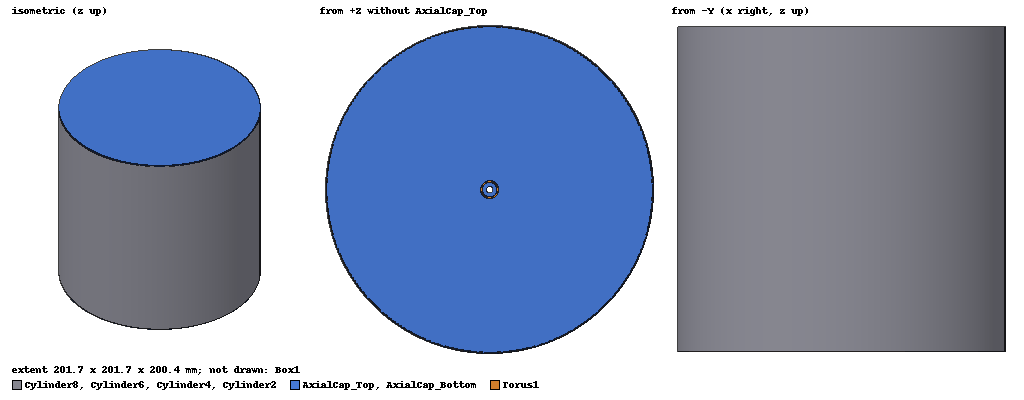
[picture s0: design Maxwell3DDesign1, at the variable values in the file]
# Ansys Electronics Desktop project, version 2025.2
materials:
  vacuum: permittivity=1
  ferrite: permittivity=12 permeability=1000 conductivity=0.01
  copper: permeability=0.999991 conductivity=58000000

design Maxwell3DDesign1 (Maxwell 3D, Magnetostatic, model units mm)
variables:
  Rin = 100mm
  H = 200mm
  Iexc = 1mA
  a = 0.15mm
  g = 0.08mm
  T = 0.84mm
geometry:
  Cylinder1 = cylinder(axis=Z, base_centre=(0mm, 0mm, -H/2), radius=Rin, height=H)
  Cylinder2 [ferrite] = cylinder(axis=Z, base_centre=(0mm, 0mm, -H/2), radius=Rin+a, height=H)
  Cylinder2.subtract(Cylinder1)
  Cylinder3 = cylinder(axis=Z, base_centre=(0mm, 0mm, -H/2), radius=Rin+a+g, height=H)
  Cylinder4 [ferrite] = cylinder(axis=Z, base_centre=(0mm, 0mm, -H/2), radius=Rin+2*a+g, height=H)
  Cylinder4.subtract(Cylinder3)
  Torus1 [copper] = torus(axis=Z, centre=(0mm, 0mm, 0mm), major_radius=5mm, minor_radius=0.5mm)
  Torus1_Section1 [copper] = Torus1.section(plane=YZ)
  Torus1_Section1.separate_bodies()
  Box1 [vacuum] = box(corner=(-400mm, -400mm, -400mm), size=(800mm, 800mm, 800mm))
  Cylinder5 = cylinder(axis=Z, base_centre=(0mm, 0mm, -H/2), radius=Rin+2*a+2*g, height=H)
  Cylinder6 [ferrite] = cylinder(axis=Z, base_centre=(0mm, 0mm, -H/2), radius=Rin+3*a+2*g, height=H)
  Cylinder6.subtract(Cylinder5)
  Cylinder7 = cylinder(axis=Z, base_centre=(0mm, 0mm, -H/2), radius=Rin+3*a+3*g, height=H)
  Cylinder8 [ferrite] = cylinder(axis=Z, base_centre=(0mm, 0mm, -H/2), radius=Rin+4*a+3*g, height=H)
  Cylinder8.subtract(Cylinder7)
  point BcenterPoint_0_0_0 = (0, 0, 0)
  point BcenterPoint_0_0_0_1 = (0, 0, 0)
  point BcenterPoint_0_0_0_2 = (0, 0, 0)
  point BcenterPoint_0_0_0_3 = (0, 0, 0)
  AxialCap_Top [ferrite] = cylinder(axis=Z, base_centre=(0mm, 0mm, 100.03mm), radius=100.84mm, height=0.15mm)
  AxialCap_Bottom [ferrite] = cylinder(axis=Z, base_centre=(0mm, 0mm, -100.18mm), radius=100.84mm, height=0.15mm)
  AxialCap_Bottom_hole_tool = cylinder(axis=Z, base_centre=(0mm, 0mm, -100.68mm), radius=2mm, height=1.15mm)
  AxialCap_Bottom.subtract(AxialCap_Bottom_hole_tool)
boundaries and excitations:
  B0z_TH_102: Tangential H Field Faces=Box1.face(-x) ComponentXReal=1 ComponentYReal=0 CoordSysVector{(-400, 0, 0) -> (-400mm, 0mm, 10mm)}
  B0z_TH_104: Tangential H Field Faces=Box1.face(+x) ComponentXReal=1 ComponentYReal=0 CoordSysVector{(400, 0, 0) -> (400mm, 0mm, 10mm)}
  B0z_TH_101: Tangential H Field Faces=Box1.face(-y) ComponentXReal=1 ComponentYReal=0 CoordSysVector{(0, -400, 0) -> (0mm, -400mm, 10mm)}
  B0z_TH_103: Tangential H Field Faces=Box1.face(+y) ComponentXReal=1 ComponentYReal=0 CoordSysVector{(0, 400, 0) -> (0mm, 400mm, 10mm)}
  B0z_open_flux_faces: Zero Tangential H Field Faces=Box1.face(+z, -z)
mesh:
  Length1: LengthBased Objects=[Cylinder8, Cylinder6, Cylinder2, Cylinder4] NumMaxElem=2000 MaxLength=50mm
  Length2: LengthBased RefineInside Objects=[Cylinder8, Cylinder6, Cylinder4, Cylinder2] NumMaxElem=2000 MaxLength=50mm
  Length_surf_Cylinder2: LengthBased Objects=Cylinder2 NumMaxElem=2000 MaxLength=0.05mm
  Length_vol_Cylinder2: LengthBased RefineInside Objects=Cylinder2 NumMaxElem=2000 MaxLength=0.05mm
  Length_surf_Cylinder4: LengthBased Objects=Cylinder4 NumMaxElem=2000 MaxLength=0.05mm
  Length_vol_Cylinder4: LengthBased RefineInside Objects=Cylinder4 NumMaxElem=2000 MaxLength=0.05mm
  Length_surf_Cylinder6: LengthBased Objects=Cylinder6 NumMaxElem=2000 MaxLength=0.05mm
  Length_vol_Cylinder6: LengthBased RefineInside Objects=Cylinder6 NumMaxElem=2000 MaxLength=0.05mm
  Length_surf_Cylinder8: LengthBased Objects=Cylinder8 NumMaxElem=2000 MaxLength=0.05mm
  Length_vol_Cylinder8: LengthBased RefineInside Objects=Cylinder8 NumMaxElem=2000 MaxLength=0.05mm
  Length_surf_z_Cylinder2: LengthBased Objects=Cylinder2 NumMaxElem=2000 MaxLength=0.05mm
  Length_vol_z_Cylinder2: LengthBased RefineInside Objects=Cylinder2 NumMaxElem=2000 MaxLength=0.05mm
  Length_surf_z_Cylinder4: LengthBased Objects=Cylinder4 NumMaxElem=2000 MaxLength=0.05mm
  Length_vol_z_Cylinder4: LengthBased RefineInside Objects=Cylinder4 NumMaxElem=2000 MaxLength=0.05mm
  Length_surf_z_Cylinder6: LengthBased Objects=Cylinder6 NumMaxElem=2000 MaxLength=0.05mm
  Length_vol_z_Cylinder6: LengthBased RefineInside Objects=Cylinder6 NumMaxElem=2000 MaxLength=0.05mm
  Length_surf_z_Cylinder8: LengthBased Objects=Cylinder8 NumMaxElem=2000 MaxLength=0.05mm
  Length_vol_z_Cylinder8: LengthBased RefineInside Objects=Cylinder8 NumMaxElem=2000 MaxLength=0.05mm
  initial mesh: GlobalCurvilinear{Apply}
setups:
  Setup1: Magnetostatic MaximumPasses=10 MinimumPasses=2 MinimumConvergedPasses=1 PercentRefinement=30 PercentError=1 NonLinearResidual=0.001
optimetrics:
  P_asweep1: Parametric Sim._Setups=[Setup1]
    sweep a: 0.5mm
    table edits: add(0.8mm) add(1.0mm) add(1.2mm) add(1.5mm) add(2.0mm)
    calculate IntH2_total on Setup1 : LastAdaptive
    calculate IntH2_s1 on Setup1 : LastAdaptive
    calculate IntH2_s2 on Setup1 : LastAdaptive
    calculate IntH2_s3 on Setup1 : LastAdaptive
    calculate InH2_s4 on Setup1 : LastAdaptive
  P_Tcompare1: Parametric Sim._Setups=[Setup1]
    sweep T: 5mm
    table edits: add(8mm) add(10mm)
    calculate IntH2_total on Setup1 : LastAdaptive
    calculate IntH2_s1 on Setup1 : LastAdaptive
    calculate IntH2_s2 on Setup1 : LastAdaptive
    calculate IntH2_s3 on Setup1 : LastAdaptive
    calculate InH2_s4 on Setup1 : LastAdaptive
  P_agmatrix_4ceng_T1: Parametric Sim._Setups=[Setup1]
    sweep a: 0.5mm
    sweep g: 0.2mm
    sweep T: 2.60mm
    table edits: add(0.5mm, 0.5mm, 3.50mm) add(0.5mm, 1.0mm, 5.00mm) add(0.5mm, 1.5mm, 6.50mm) add(1.0mm, 0.2mm, 4.60mm) add(1.0mm, 0.5mm, 5.50mm) add(1.0mm, 1.0mm, 7.00mm) add(1.0mm, 1.5mm, 8.50mm) add(1.5mm, 0.2mm, 6.60mm) add(1.5mm, 0.5mm, 7.50mm) add(1.5mm, 1.0mm, 9.00mm) add(2.0mm, 0.2mm, 8.60mm) add(2.0mm, 0.5mm, 9.50mm)
    calculate IntH2_total on Setup1 : LastAdaptive
    calculate IntH2_s1 on Setup1 : LastAdaptive
    calculate IntH2_s2 on Setup1 : LastAdaptive
    calculate IntH2_s3 on Setup1 : LastAdaptive
    calculate InH2_s4 on Setup1 : LastAdaptive
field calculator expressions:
  IntH2_cyl2 = Mag_H | Mag_H | * | EnterVolume(Cylinder2) | VolumeValue | Integrate
  IntH2_cyl4 = Mag_H | Mag_H | * | EnterVolume(Cylinder4) | VolumeValue | Integrate
  IntH2_s1 = Mag_H | Mag_H | * | EnterVolume(Cylinder2) | VolumeValue | Integrate
  IntH2_s2 = Mag_H | Mag_H | * | EnterVolume(Cylinder4) | VolumeValue | Integrate
  IntH2_s3 = Mag_H | Mag_H | * | EnterVolume(Cylinder6) | VolumeValue | Integrate
  IntH2_intotal = IntH2_s1 | IntH2_s2 | + | IntH2_s3 | +
  InH2_s4 = Mag_H | Mag_H | * | EnterVolume(Cylinder8) | VolumeValue | Integrate
  IntH2_total = IntH2_s1 | IntH2_s2 | + | IntH2_s3 | + | InH2_s4 | +
